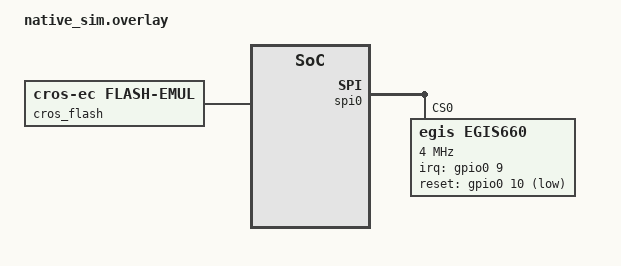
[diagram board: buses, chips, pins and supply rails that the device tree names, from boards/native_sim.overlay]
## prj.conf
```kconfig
# Copyright 2026 The ChromiumOS Authors
# Use of this source code is governed by a BSD-style license that can be
# found in the LICENSE file.

CONFIG_ZTEST=y
CONFIG_EMUL=y
CONFIG_GPIO=y
CONFIG_SPI=y
CONFIG_PM_DEVICE=y
CONFIG_FINGERPRINT_SENSOR=y
CONFIG_FINGERPRINT_SENSOR_EGIS660_PAL=y
CONFIG_APPLICATION_DEFINED_SYSCALL=y
CONFIG_UART_NATIVE_PTY_0_ON_STDINOUT=y

# Platform EC support
CONFIG_PLATFORM_EC=y
CONFIG_CROS_EC=y
CONFIG_CROS_EC_FIRMWARE_LOAD_OFF=0x0
CONFIG_CROS_EC_RO=y
CONFIG_PLATFORM_EC_BACKLIGHT_LID=n
CONFIG_PLATFORM_EC_SWITCH=n
CONFIG_PLATFORM_EC_CONSOLE_CMD_CHARGEN=n
CONFIG_PLATFORM_EC_PANIC=n

# Flash testing with cros-ec,flash-emul
CONFIG_FLASH=y
CONFIG_EMUL_CROS_FLASH=y
CONFIG_PLATFORM_EC_FLASH_SIZE_BYTES=0x200000

# APNS storage is backed by the (C++) vendor data cache
CONFIG_CPP=y
CONFIG_STD_CPP23=y
CONFIG_REQUIRES_FULL_LIBCPP=y
CONFIG_PLATFORM_EC_FP_VENDOR_DATA=y
```

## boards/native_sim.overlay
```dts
/* Copyright 2026 The ChromiumOS Authors
 * Use of this source code is governed by a BSD-style license that can be
 * found in the LICENSE file.
 */

#include <board-overlays/native_sim.dts>
#include <cros/binman.dtsi>

#define EGIS660_COMMON_IMAGE_PROPS \
	width = <96>; \
	height = <100>; \
	bits-per-pixel = <8>; \
	frame-size = <9980>; \
	image-data-offset-bytes = <172>; \
	v4l2-pixel-format = "V4L2_PIX_FMT_GREY";

/ {
	chosen {
		cros-fp,fingerprint-sensor = &egis660;
		cros-ec,flash-controller = &cros_flash;
	};

	aliases {
		gpio-wp = &gpio_wp_l;
	};

	named-gpios {
		gpio_wp_l: wp_l {
			gpios = <&gpio0 0 (GPIO_INPUT | GPIO_ACTIVE_LOW)>;
		};
	};

	cros_flash: cros-flash {
		compatible = "cros-ec,flash-emul";
	};
};

/* Configure existing simulated flash from native_sim.dts */
&flash0 {
	erase-block-size = <0x1000>;
	write-block-size = <256>;
	reg = <0x00000000 DT_SIZE_K(2048)>;

	partitions {
		compatible = "fixed-partitions";
		#address-cells = <1>;
		#size-cells = <1>;

		fingerprint_sensor_vendor_data: partition@100000 {
			label = "fingerprint_sensor_vendor_data";
			reg = <0x100000 DT_SIZE_K(64)>;
		};
	};
};

&spi0 {
	egis660: egis660@0 {
		compatible = "egis,egis660";
		reg = <0>;
		spi-max-frequency = <4000000>;

		configs {
			compatible = "fingerprint-image-frame-params";
			config0 {
				EGIS660_COMMON_IMAGE_PROPS
				capture-type = "FINGERPRINT_CAPTURE_TYPE_VENDOR_FORMAT";
			};
			config1 {
				EGIS660_COMMON_IMAGE_PROPS
				capture-type = "FINGERPRINT_CAPTURE_TYPE_SIMPLE_IMAGE";
			};
			config2 {
				EGIS660_COMMON_IMAGE_PROPS
				capture-type = "FINGERPRINT_CAPTURE_TYPE_PATTERN0";
			};
			config3 {
				EGIS660_COMMON_IMAGE_PROPS
				capture-type = "FINGERPRINT_CAPTURE_TYPE_PATTERN1";
			};
			config4 {
				EGIS660_COMMON_IMAGE_PROPS
				capture-type = "FINGERPRINT_CAPTURE_TYPE_PATTERN2";
			};
			config5 {
				EGIS660_COMMON_IMAGE_PROPS
				capture-type = "FINGERPRINT_CAPTURE_TYPE_RESET_TEST";
			};
		};

		irq-gpios = <&gpio0 9 (GPIO_ACTIVE_HIGH | GPIO_PULL_DOWN)>;
		reset-gpios = <&gpio0 10 GPIO_ACTIVE_LOW>;
	};
};
```

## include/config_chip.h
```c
/* Copyright 2026 The ChromiumOS Authors
 * Use of this source code is governed by a BSD-style license that can be
 * found in the LICENSE file.
 */

#ifndef PLATFORM_EC_ZEPHYR_TEST_FINGERPRINT_DRIVERS_EGIS660_INCLUDE_CONFIG_CHIP_H_
#define PLATFORM_EC_ZEPHYR_TEST_FINGERPRINT_DRIVERS_EGIS660_INCLUDE_CONFIG_CHIP_H_

#define CONFIG_FLASH_WRITE_IDEAL_SIZE \
	DT_PROP(DT_INST(0, soc_nv_flash), write_block_size)
#define CONFIG_FLASH_ERASE_SIZE \
	DT_PROP(DT_INST(0, soc_nv_flash), erase_block_size)

#endif /* PLATFORM_EC_ZEPHYR_TEST_FINGERPRINT_DRIVERS_EGIS660_INCLUDE_CONFIG_CHIP_H_ \
	*/
```

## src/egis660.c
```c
/* Copyright 2026 The ChromiumOS Authors
 * Use of this source code is governed by a BSD-style license that can be
 * found in the LICENSE file.
 */

#include "egis660_pal_test_helpers.h"

#include <zephyr/device.h>
#include <zephyr/devicetree.h>
#include <zephyr/drivers/emul.h>
#include <zephyr/drivers/gpio.h>
#include <zephyr/drivers/gpio/gpio_emul.h>
#include <zephyr/fff.h>
#include <zephyr/sys/byteorder.h>
#include <zephyr/sys/util.h>
#include <zephyr/ztest.h>
#include <zephyr/ztest_assert.h>

#include <drivers/fingerprint.h>
#include <emul/emul_egis660.h>
#include <fingerprint/v4l2_types.h>
#include <fingerprint_egis660.h>
#include <fingerprint_egis660_private.h>
#include <fpsensor/fpsensor_vendor_data.h>

DEFINE_FFF_GLOBALS;

struct egis660_fixture {
	const struct device *dev;
	const struct emul *target;
};

static void *egis660_setup(void)
{
	static struct egis660_fixture fixture = {
		.dev = DEVICE_DT_GET(DT_NODELABEL(egis660)),
		.target = EMUL_DT_GET(DT_NODELABEL(egis660)),
	};

	zassert_not_null(fixture.dev);
	zassert_not_null(fixture.target);
	return &fixture;
}

static void egis660_before(void *f)
{
	ARG_UNUSED(f);

	/*
	 * The APNS storage is backed by the vendor data cache, which fp_task
	 * initializes on real hardware. Do it here (and again before every
	 * test, so pending modifications don't leak between tests).
	 */
	zassert_ok(fp_vendor_data_init());
}

/* Converts capture types from the ec domain to the egis domain. */
int convert_fp_capture_type_to_egis_capture_type(int mode);

#define EGIS660_IMAGE_FRAME_PARAM_INITIALIZER(idx, node_id)                 \
	{                                                                   \
		.frame_size = FINGERPRINT_SENSOR_FRAME_SIZE(idx, node_id),  \
		.image_data_offset_bytes =                                  \
			FINGERPRINT_SENSOR_IMAGE_OFFSET(idx, node_id),      \
		.pixel_format =                                             \
			FINGERPRINT_SENSOR_V4L2_PIXEL_FORMAT(idx, node_id), \
		.width = FINGERPRINT_SENSOR_RES_X(idx, node_id),            \
		.height = FINGERPRINT_SENSOR_RES_Y(idx, node_id),           \
		.bpp = FINGERPRINT_SENSOR_RES_BPP(idx, node_id),            \
		.fp_capture_type =                                          \
			FINGERPRINT_SENSOR_CAPTURE_TYPE(idx, node_id),      \
		.reserved = 0,                                              \
	}

static const struct fingerprint_image_frame_params
	expected_image_frame_params_array[] = { LISTIFY(
		NUM_IMAGE_CAPTURE_TYPES, EGIS660_IMAGE_FRAME_PARAM_INITIALIZER,
		(, ), DT_NODELABEL(egis660)) };

ZTEST_SUITE(egis660, NULL, egis660_setup, egis660_before, NULL, NULL);

ZTEST_F(egis660, test_init_success)
{
	zassert_ok(fingerprint_init(fixture->dev));
}

ZTEST_F(egis660, test_deinit_success)
{
	zassert_ok(fingerprint_deinit(fixture->dev));
}

ZTEST_F(egis660, test_get_info)
{
	struct fingerprint_sensor_info sensor_info;
	struct fingerprint_image_frame_params
		image_frame_params_array[NUM_IMAGE_CAPTURE_TYPES];
	uint8_t num_params = NUM_IMAGE_CAPTURE_TYPES;

	/* We need to initialize driver first to initialize 'error' field */
	zassert_ok(fingerprint_init(fixture->dev));
	zassert_ok(fingerprint_get_info(fixture->dev, &sensor_info,
					image_frame_params_array, &num_params));
	zassert_equal(
		num_params, NUM_IMAGE_CAPTURE_TYPES,
		"fingerprint_get_info returned an unexpected number of params");

	zassert_equal(sensor_info.vendor_id, FOURCC('E', 'G', 'I', 'S'));
	zassert_equal(sensor_info.product_id, 9);
	zassert_equal(sensor_info.version, 1);

	for (int i = 0; i < NUM_IMAGE_CAPTURE_TYPES; ++i) {
		zassert_equal(
			memcmp(&image_frame_params_array[i],
			       &expected_image_frame_params_array[i],
			       sizeof(struct fingerprint_image_frame_params)),
			0, "Struct comparison failed at index %d", i);
	}
}

ZTEST_F(egis660, test_enter_idle)
{
	zassert_ok(fingerprint_set_mode(fixture->dev,
					FINGERPRINT_SENSOR_MODE_IDLE));
}

ZTEST_F(egis660, test_invalid_mode_not_supported)
{
	zassert_equal(fingerprint_set_mode(fixture->dev, UINT16_MAX), -ENOTSUP);
}

FAKE_VOID_FUNC(test_interrupt_handler, const struct device *);

ZTEST_F(egis660, test_interrupt)
{
	const struct gpio_dt_spec spec =
		GPIO_DT_SPEC_GET(DT_NODELABEL(egis660), irq_gpios);

	RESET_FAKE(test_interrupt_handler);
	zassert_ok(fingerprint_config(fixture->dev, test_interrupt_handler));

	/* Enable interrupt (they are disabled by default). */
	zassert_ok(gpio_pin_interrupt_configure_dt(&spec,
						   GPIO_INT_EDGE_TO_ACTIVE));

	/*
	 * Toggle the GPIO twice. We expect that the driver will disable
	 * interrupt in interrupt handler, so handler should be called once.
	 */
	for (int i = 0; i < 2; i++) {
		gpio_emul_input_set(spec.port, spec.pin, 1);
		k_msleep(5);
		gpio_emul_input_set(spec.port, spec.pin, 0);
		k_msleep(5);
	}

	/* Verify the handler was called once. */
	zassert_equal(test_interrupt_handler_fake.call_count, 1);
}

ZTEST_F(egis660, test_maintenance_not_supported)
{
	uint8_t buffer[CONFIG_FINGERPRINT_SENSOR_IMAGE_SIZE];

	zassert_equal(fingerprint_maintenance(fixture->dev, buffer,
					      sizeof(buffer)),
		      -ENOTSUP);
}

ZTEST_F(egis660, test_finger_status_not_supported)
{
	zassert_equal(fingerprint_finger_status(fixture->dev), -ENOTSUP);
}

ZTEST_F(egis660, test_acquire_image_not_supported)
{
	uint8_t buffer[CONFIG_FINGERPRINT_SENSOR_IMAGE_SIZE];

	zassert_equal(fingerprint_acquire_image(fixture->dev, 0, buffer,
						sizeof(buffer)),
		      -ENOTSUP);
}

ZTEST_F(egis660, test_sensor_mode_detect_not_supported)
{
	zassert_equal(fingerprint_set_mode(fixture->dev,
					   FINGERPRINT_SENSOR_MODE_DETECT),
		      -ENOTSUP);
}

ZTEST_F(egis660, test_pal_spi_write_read)
{
	/*
	 * Prepare buffer with command and place for response.
	 * Sensor should return hardware id.
	 */
	uint8_t hwid_cmd_buf[] = { 0xFC, 0x00, 0x00 };
	uint16_t hwid;

	zassert_ok(egis660_pal_spi_write_read(hwid_cmd_buf, 1, 2, false));
	/*
	 * Second and third bytes contain HWID. It's encoded in big endian so
	 * convert it cpu endianness.
	 */
	hwid = sys_be16_to_cpu(*(uint16_t *)&hwid_cmd_buf[1]);

	/*
	 * Last 4 bits of hardware id is a year of sensor production,
	 * could differ between sensors.
	 */
	zassert_equal(hwid >> 4, 0x2d1);
}

ZTEST_F(egis660, test_pal_spi_write_read_series)
{
	uint8_t hwid_cmd_buf[] = { 0xFC, 0x00, 0x00 };

	zassert_ok(egis660_pal_spi_write_read(hwid_cmd_buf, 1, 2, true));
	/* The second transfer is done, with the CS already asserted */
	zassert_ok(egis660_pal_spi_write_read(hwid_cmd_buf, 1, 2, false));
}

ZTEST_F(egis660, test_pal_check_irq)
{
	const struct gpio_dt_spec irq_pin =
		GPIO_DT_SPEC_GET(DT_NODELABEL(egis660), irq_gpios);

	gpio_emul_input_set(irq_pin.port, irq_pin.pin, 1);
	zassert_equal(egis660_pal_check_irq(), true);
	gpio_emul_input_set(irq_pin.port, irq_pin.pin, 0);
	zassert_equal(egis660_pal_check_irq(), false);
}

ZTEST_F(egis660, test_pal_read_irq)
{
	const struct gpio_dt_spec irq_pin =
		GPIO_DT_SPEC_GET(DT_NODELABEL(egis660), irq_gpios);

	gpio_emul_input_set(irq_pin.port, irq_pin.pin, 1);
	zassert_equal(egis660_pal_read_irq(), true);
	gpio_emul_input_set(irq_pin.port, irq_pin.pin, 0);
	zassert_equal(egis660_pal_read_irq(), false);
}

ZTEST_F(egis660, test_pal_reset_pin)
{
	const struct gpio_dt_spec reset_pin =
		GPIO_DT_SPEC_GET(DT_NODELABEL(egis660), reset_gpios);

	/* Reset is active when GPIO output is low. */
	egis660_pal_reset(true);
	zassert_equal(gpio_emul_output_get(reset_pin.port, reset_pin.pin), 0);

	/* Reset is inactive when GPIO output is high. */
	egis660_pal_reset(false);
	zassert_equal(gpio_emul_output_get(reset_pin.port, reset_pin.pin), 1);
}

ZTEST_F(egis660, test_pal_timebase_get_tick)
{
	zassert_equal(egis660_pal_timebase_get_tick(), k_uptime_get_32());
}

ZTEST_F(egis660, test_pal_timebase_delay_us)
{
	uint32_t t1, t2;

	t1 = egis660_pal_timebase_get_tick();

	/* Wait 10000us. */
	egis660_pal_timebase_delay_us(10000);

	t2 = egis660_pal_timebase_get_tick();

	/* Add some margin of 1ms */
	zassert_true((t2 - t1) >= 9 && (t2 - t1) <= 11);
}

ZTEST_F(egis660, test_pal_timebase_delay_ms)
{
	uint32_t t1, t2;

	t1 = egis660_pal_timebase_get_tick();

	/* Wait 100ms. */
	egis660_pal_timebase_delay_ms(100);

	t2 = egis660_pal_timebase_get_tick();

	/* Add some margin of 10ms */
	zassert_true((t2 - t1) >= 90 && (t2 - t1) <= 110);
}

ZTEST_F(egis660, test_pal_memory_alloc)
{
	void *p;

	p = egis660_pal_malloc(2048);
	zassert_not_null(p);

	egis660_pal_free(p);
}

static ZTEST_DMEM volatile int expected_reason = -1;

void k_sys_fatal_error_handler(unsigned int reason, const struct arch_esf *pEsf)
{
	printk("Caught system error -- reason %d\n", reason);

	zassert_not_equal(expected_reason, -1, "Unexpected crash");
	zassert_equal(reason, expected_reason,
		      "Wrong crash type got %d expected %d\n", reason,
		      expected_reason);

	expected_reason = -1;
	ztest_test_pass();
}

ZTEST_F(egis660, test_convert_fp_capture_type_to_egis_capture_type)
{
	zassert_equal(convert_fp_capture_type_to_egis_capture_type(
			      FINGERPRINT_CAPTURE_TYPE_VENDOR_FORMAT),
		      EGIS_CAPTURE_VENDOR_FORMAT);
	zassert_equal(convert_fp_capture_type_to_egis_capture_type(
			      FINGERPRINT_CAPTURE_TYPE_SIMPLE_IMAGE),
		      EGIS_CAPTURE_SIMPLE_IMAGE);
	zassert_equal(convert_fp_capture_type_to_egis_capture_type(
			      FINGERPRINT_CAPTURE_TYPE_PATTERN0),
		      EGIS_CAPTURE_PATTERN0);
	zassert_equal(convert_fp_capture_type_to_egis_capture_type(
			      FINGERPRINT_CAPTURE_TYPE_PATTERN1),
		      EGIS_CAPTURE_PATTERN1);
	zassert_equal(convert_fp_capture_type_to_egis_capture_type(
			      FINGERPRINT_CAPTURE_TYPE_PATTERN2),
		      EGIS_CAPTURE_PATTERN2);
	zassert_equal(convert_fp_capture_type_to_egis_capture_type(
			      FINGERPRINT_CAPTURE_TYPE_RESET_TEST),
		      -EINVAL);
	zassert_equal(convert_fp_capture_type_to_egis_capture_type(
			      FINGERPRINT_CAPTURE_TYPE_MAX),
		      -EINVAL);
}

ZTEST_F(egis660, test_acquire_image_small_buffer_size)
{
	uint8_t buffer[CONFIG_FINGERPRINT_SENSOR_IMAGE_SIZE] = { 0 };
	size_t image_buf_size = CONFIG_FINGERPRINT_SENSOR_IMAGE_SIZE - 1;
	enum fingerprint_capture_type capture_type =
		FINGERPRINT_CAPTURE_TYPE_VENDOR_FORMAT;

	zassert_equal(fingerprint_acquire_image(fixture->dev, capture_type,
						buffer, image_buf_size),
		      -EINVAL);
}

ZTEST_F(egis660, test_acquire_image_wrong_capture_type)
{
	uint8_t buffer[CONFIG_FINGERPRINT_SENSOR_IMAGE_SIZE] = { 0 };
	enum fingerprint_capture_type capture_type =
		FINGERPRINT_CAPTURE_TYPE_MAX;

	zassert_equal(fingerprint_acquire_image(fixture->dev, capture_type,
						buffer, sizeof(buffer)),
		      -EINVAL);
}

/* APNS storage tests — exercise the PAL backed by the vendor data cache */

#define APNS_TEST_ERASE_SIZE 4096

ZTEST_F(egis660, test_flash_erase)
{
	int rc;

	rc = egis660_pal_flash_erase(0, APNS_TEST_ERASE_SIZE);
	zassert_ok(rc, "flash_erase failed: %d", rc);

	/* Verify erased content */
	uint8_t buf[4];

	rc = egis660_pal_flash_read(0, sizeof(buf), buf);
	zassert_ok(rc, "flash_read after erase failed: %d", rc);
	zassert_equal(buf[0], 0xff, "flash should be erased to 0xff");
	zassert_equal(buf[1], 0xff, "flash should be erased to 0xff");
	zassert_equal(buf[2], 0xff, "flash should be erased to 0xff");
	zassert_equal(buf[3], 0xff, "flash should be erased to 0xff");
}

ZTEST_F(egis660, test_flash_write_and_read)
{
	int rc;

	/* Erase first */
	rc = egis660_pal_flash_erase(0, APNS_TEST_ERASE_SIZE);
	zassert_ok(rc, "flash_erase failed: %d", rc);

	/* The storage has no alignment constraints */
	const uint8_t test_data[] = { 0x12, 0x34, 0x56, 0x78,
				      0xAB, 0xCD, 0xEF, 0x01 };

	rc = egis660_pal_flash_write(0, test_data, sizeof(test_data));
	zassert_ok(rc, "flash_write failed: %d", rc);

	/* Read back and verify */
	uint8_t read_buf[sizeof(test_data)] = { 0 };

	rc = egis660_pal_flash_read(0, sizeof(read_buf), read_buf);
	zassert_ok(rc, "flash_read failed: %d", rc);
	zassert_mem_equal(read_buf, test_data, sizeof(test_data),
			  "read data mismatch");
}

ZTEST_F(egis660, test_flash_write_offset)
{
	int rc;

	rc = egis660_pal_flash_erase(0, APNS_TEST_ERASE_SIZE);
	zassert_ok(rc, "flash_erase failed: %d", rc);

	/* Write at a non-zero, unaligned offset */
	const uint8_t test_data[] = { 0xDE, 0xAD, 0xBE, 0xEF };
	const uint32_t offset = 13;

	rc = egis660_pal_flash_write(offset, test_data, sizeof(test_data));
	zassert_ok(rc, "flash_write at offset failed: %d", rc);

	/* Read back */
	uint8_t read_buf[sizeof(test_data)] = { 0 };

	rc = egis660_pal_flash_read(offset, sizeof(read_buf), read_buf);
	zassert_ok(rc, "flash_read at offset failed: %d", rc);
	zassert_mem_equal(read_buf, test_data, sizeof(test_data),
			  "value at offset 0x%x mismatch", offset);
}

ZTEST_F(egis660, test_flash_out_of_bounds)
{
	uint8_t buf[4];

	/* Read/write/erase beyond partition size should fail */
	zassert_not_ok(egis660_pal_flash_read(APNS_TEST_SIZE, 4, buf));
	zassert_not_ok(egis660_pal_flash_write(APNS_TEST_SIZE, buf, 4));
	zassert_not_ok(
		egis660_pal_flash_erase(APNS_TEST_SIZE, APNS_TEST_ERASE_SIZE));

	/* Write spanning beyond partition boundary */
	zassert_not_ok(egis660_pal_flash_write(APNS_TEST_SIZE - 2, buf, 4));
}

ZTEST_F(egis660, test_flash_null_buffer)
{
	zassert_not_ok(egis660_pal_flash_read(0, 4, NULL));
	zassert_not_ok(egis660_pal_flash_write(0, NULL, 4));
}

ZTEST_F(egis660, test_flash_overwrite)
{
	int rc;

	/* Erase and write initial data */
	rc = egis660_pal_flash_erase(0, APNS_TEST_ERASE_SIZE);
	zassert_ok(rc, "flash_erase failed: %d", rc);

	const uint8_t data1[8] = { 0xAA };

	rc = egis660_pal_flash_write(0, data1, sizeof(data1));
	zassert_ok(rc, "flash_write data1 failed: %d", rc);

	/* Erase and write different data at same location */
	rc = egis660_pal_flash_erase(0, APNS_TEST_ERASE_SIZE);
	zassert_ok(rc, "flash_erase second failed: %d", rc);

	const uint8_t data2[8] = { 0x55 };

	rc = egis660_pal_flash_write(0, data2, sizeof(data2));
	zassert_ok(rc, "flash_write data2 failed: %d", rc);

	/* Verify data2 overwrote data1 */
	uint8_t read_buf[sizeof(data2)] = { 0 };

	rc = egis660_pal_flash_read(0, sizeof(read_buf), read_buf);
	zassert_ok(rc, "flash_read after overwrite failed: %d", rc);
	zassert_mem_equal(read_buf, data2, sizeof(data2),
			  "overwrite verification failed");
}
```

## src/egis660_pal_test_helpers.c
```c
/* Copyright 2026 The ChromiumOS Authors
 * Use of this source code is governed by a BSD-style license that can be
 * found in the LICENSE file.
 */

#include "egis660_pal_test_helpers.h"

#include <fingerprint_egis660_pal.h>

int z_impl_egis660_pal_spi_write_read(uint8_t *data, size_t write_size,
				      size_t read_size, bool leave_cs_asserted)
{
	return egis_sensor_spi_write_read(data, write_size, read_size,
					  leave_cs_asserted);
}

bool z_impl_egis660_pal_check_irq(void)
{
	return egis_sensor_check_irq();
}

bool z_impl_egis660_pal_read_irq(void)
{
	return egis_sensor_read_irq();
}

void z_impl_egis660_pal_reset(bool state)
{
	return egis_sensor_reset(state);
}

uint32_t z_impl_egis660_pal_timebase_get_tick(void)
{
	return egis_timebase_get_tick();
}

void z_impl_egis660_pal_timebase_delay_us(uint32_t us)
{
	return egis_timebase_delay_us(us);
}

void z_impl_egis660_pal_timebase_delay_ms(uint32_t ms)
{
	return egis_timebase_delay_ms(ms);
}

void *z_impl_egis660_pal_malloc(uint32_t size)
{
	return egis_malloc(size);
}

void z_impl_egis660_pal_free(void *data)
{
	return egis_free(data);
}

int z_impl_egis660_pal_flash_erase(uint32_t offset, size_t size)
{
	return egis_apns_data_erase(offset, size);
}

int z_impl_egis660_pal_flash_read(uint32_t offset, size_t size, void *data)
{
	return egis_apns_data_read(offset, size, data);
}

int z_impl_egis660_pal_flash_write(uint32_t offset, const void *data,
				   size_t size)
{
	return egis_apns_data_write(offset, data, size);
}
```

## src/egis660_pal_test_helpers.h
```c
/* Copyright 2026 The ChromiumOS Authors
 * Use of this source code is governed by a BSD-style license that can be
 * found in the LICENSE file.
 */

#ifndef PLATFORM_EC_ZEPHYR_TEST_FINGERPRINT_DRIVERS_EGIS660_SRC_EGIS660_PAL_TEST_HELPERS_H_
#define PLATFORM_EC_ZEPHYR_TEST_FINGERPRINT_DRIVERS_EGIS660_SRC_EGIS660_PAL_TEST_HELPERS_H_

#include <zephyr/devicetree.h>
#include <zephyr/kernel.h>

/* Size of the simulated vendor data partition backing the APNS storage */
#define APNS_TEST_SIZE DT_REG_SIZE(DT_NODELABEL(fingerprint_sensor_vendor_data))

__syscall int egis660_pal_spi_write_read(uint8_t *data, size_t write_size,
					 size_t read_size,
					 bool leave_cs_asserted);
__syscall bool egis660_pal_check_irq(void);
__syscall bool egis660_pal_read_irq(void);
__syscall void egis660_pal_reset(bool state);
__syscall uint32_t egis660_pal_timebase_get_tick(void);
__syscall void egis660_pal_timebase_delay_us(uint32_t us);
__syscall void egis660_pal_timebase_delay_ms(uint32_t ms);
__syscall void *egis660_pal_malloc(uint32_t size);
__syscall void egis660_pal_free(void *data);

/* Storage test helpers — wrap the APNS storage PAL */
__syscall int egis660_pal_flash_erase(uint32_t offset, size_t size);
__syscall int egis660_pal_flash_read(uint32_t offset, size_t size, void *data);
__syscall int egis660_pal_flash_write(uint32_t offset, const void *data,
				      size_t size);

#include <zephyr/syscalls/egis660_pal_test_helpers.h>

#endif /* PLATFORM_EC_ZEPHYR_TEST_FINGERPRINT_DRIVERS_EGIS660_SRC_EGIS660_PAL_TEST_HELPERS_H_ \
	*/
```
